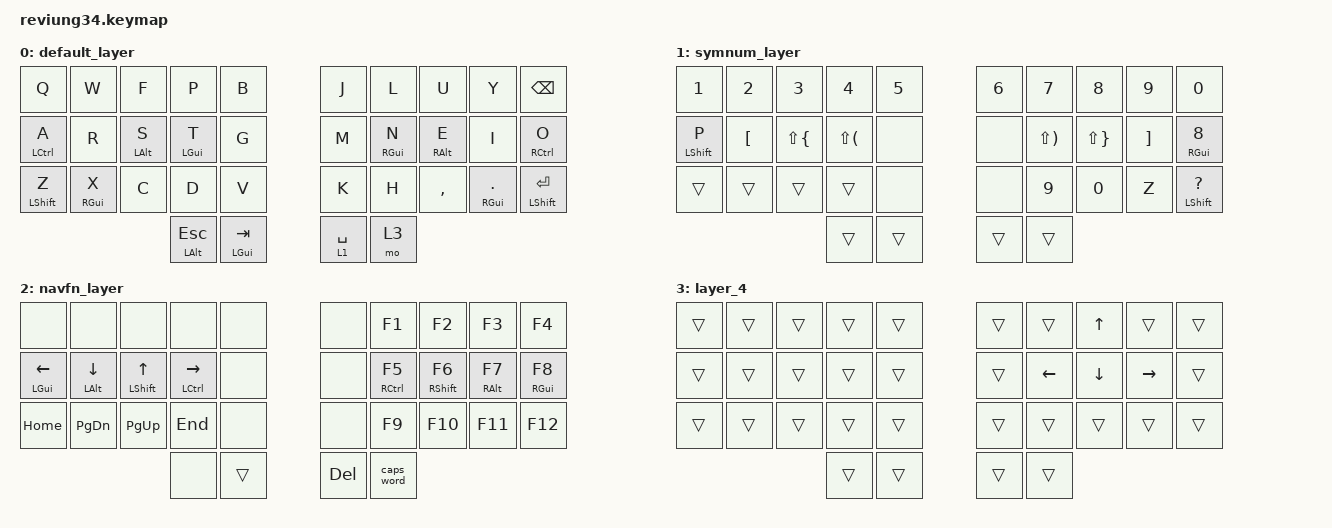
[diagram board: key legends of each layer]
/*
 * Copyright (c) 2020 The ZMK Contributors
 *
 * SPDX-License-Identifier: MIT
 */

#include <behaviors.dtsi>
#include <dt-bindings/zmk/keys.h>

#define DEFAULT 0
#define SYMNUM 1
#define NAVFN 2
#define CONFIG 3

&mt { tapping-term-ms = <165>; };

/ {
    keymap {
        compatible = "zmk,keymap";

        default_layer {
            // -------------------------------------------------------------------------------------------
            // |  Q       |  W        |  F       |  P         | B    | J     | L           | U          |  W      |  V      |
            // | LGUI(C)  | LALT(I)   | LSHFT(E) | LCTRL(A)   |      | M     | RCTRL(H)    | RSHFT(E)   | RALT(S) | RGUI(N) |
            // | G        | X         | J        | K          |      | K     | H           | COMMA      | F       | P       |
            //                        | RET      | NAV(SPC)   |      |       | SYM(BSPC)   | CONF(ESC)  |

            bindings = <
&kp Q        &kp W       &kp F       &kp P            &kp B         &kp J        &kp L       &kp U       &kp Y            &kp BACKSPACE
&mt LCTRL A  &kp R       &mt LALT S  &mt LGUI T       &kp G         &kp M        &mt RGUI N  &mt RALT E  &kp I            &mt RCTRL O
&mt LSHFT Z  &mt RGUI X  &kp C       &kp D            &kp V         &kp K        &kp H       &kp COMMA   &mt RGUI PERIOD  &mt LSHIFT ENTER
                                     &mt LALT ESCAPE  &mt LGUI TAB  &lt 1 SPACE  &mo 3
            >;
        };

        symnum_layer {
            // -------------------------------------------------------------------------------------------
            // |         |  `      |  \       |  /       |   |  1        |  2        |  3      |  4      |
            // | LGUI(') | LALT(-) | LSHFT(,) | LCTRL(.) |   | RCTRL(5)  | RSHFT(6)  | RALT(7) | RGUI(8) |
            // | =       | ;       | [        | ]        |   | 9         | 0         | Z       | Q       |
            //                     | SAVE     | TAB      |   |           |           |

            bindings = <
&kp N1       &kp N2    &kp N3        &kp N4        &kp N5  &kp N6  &kp N7        &kp N8        &kp N9    &kp N0
&mt LSHFT P  &kp LBKT  &kp LS(LBRC)  &kp LS(LPAR)  &none   &none   &kp LS(RPAR)  &kp LS(RBRC)  &kp RBKT  &mt RGUI N8
&trans       &trans    &trans        &trans        &none   &none   &kp N9        &kp N0        &kp Z     &mt LSHFT QUESTION
                                     &trans        &trans  &trans  &trans
            >;
        };

        navfn_layer {
            // -------------------------------------------------------------------------------------------
            // |         |         |          |          |   | F1        | F2        | F3      | F4      |
            // | LGUI(LFT) | LALT(DWN) | LSHFT(UP) | LCTRL(RGT) |   | RCTRL(F5)  | RSHFT(F6)  | RALT(F7) | RGUI(F8) |
            // | HOME       | PGDN       | PGUP        | END        |   | F9         | F10         | F11       | F12       |
            //                     |          |          |   | DEL       |           |

            bindings = <
&none          &none          &none         &none            &none   &none    &kp F1        &kp F2        &kp F3       &kp F4
&mt LGUI LEFT  &mt LALT DOWN  &mt LSHFT UP  &mt LCTRL RIGHT  &none   &none    &mt RCTRL F5  &mt RSHFT F6  &mt RALT F7  &mt RGUI F8
&kp HOME       &kp PG_DN      &kp PG_UP     &kp END          &none   &none    &kp F9        &kp F10       &kp F11      &kp F12
                                            &none            &trans  &kp DEL  &caps_word
            >;
        };

        layer_4 {
            bindings = <
&trans  &trans  &trans  &trans  &trans  &trans  &trans    &kp UP    &trans     &trans
&trans  &trans  &trans  &trans  &trans  &trans  &kp LEFT  &kp DOWN  &kp RIGHT  &trans
&trans  &trans  &trans  &trans  &trans  &trans  &trans    &trans    &trans     &trans
                        &trans  &trans  &trans  &trans
            >;
        };
    };
};
